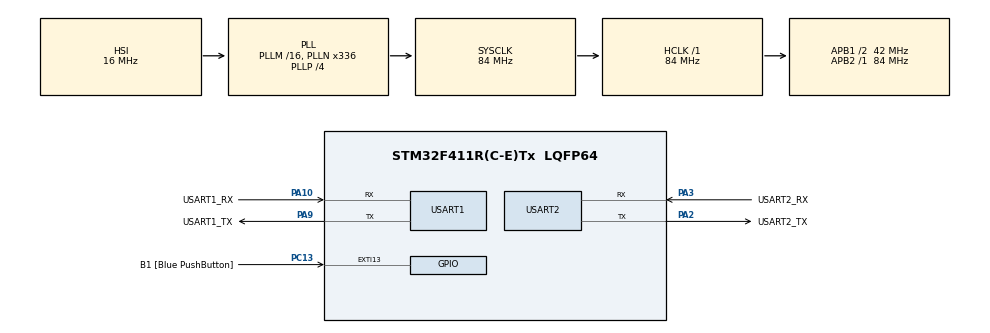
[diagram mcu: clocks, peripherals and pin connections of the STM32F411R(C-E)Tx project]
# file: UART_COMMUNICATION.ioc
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Mcu.Family=STM32F4
Mcu.Name=STM32F411R(C-E)Tx
Mcu.Package=LQFP64
NVIC.PriorityGroup=NVIC_PRIORITYGROUP_0
NVIC.USART1_IRQn=true\:0\:0\:false\:false\:true\:true\:true\:true
NVIC.USART2_IRQn=true\:0\:0\:false\:false\:true\:true\:true\:true
PA10.GPIO_Label=USART1_RX
PA10.Mode=Asynchronous
PA10.Signal=USART1_RX
PA14.GPIO_Label=TCK
PA14.Signal=SYS_JTCK-SWCLK
PA2.GPIO_Label=USART2_TX
PA2.Mode=Asynchronous
PA2.Signal=USART2_TX
PA3.GPIO_Label=USART2_RX
PA3.Mode=Asynchronous
PA3.Signal=USART2_RX
PA9.GPIO_Label=USART1_TX
PA9.Mode=Asynchronous
PA9.Signal=USART1_TX
PB3.GPIO_Label=SWO
PB3.Signal=SYS_JTDO-SWO
PC13-ANTI_TAMP.GPIO_Label=B1 [Blue PushButton]
PC13-ANTI_TAMP.GPIO_ModeDefaultEXTI=GPIO_MODE_IT_FALLING
PC13-ANTI_TAMP.Signal=GPXTI13
PC14-OSC32_IN.Mode=LSE-External-Oscillator
PC14-OSC32_IN.Signal=RCC_OSC32_IN
PC15-OSC32_OUT.Mode=LSE-External-Oscillator
PC15-OSC32_OUT.Signal=RCC_OSC32_OUT
PH0\ -\ OSC_IN.Mode=HSE-External-Clock-Source
PH0\ -\ OSC_IN.Signal=RCC_OSC_IN
PH1\ -\ OSC_OUT.Mode=HSE-External-Clock-Source
PH1\ -\ OSC_OUT.Signal=RCC_OSC_OUT
ProjectManager.HeapSize=0x200
ProjectManager.StackSize=0x400
ProjectManager.TargetToolchain=STM32CubeIDE
RCC.48MHZClocksFreq_Value=84000000
RCC.AHBFreq_Value=84000000
RCC.APB1CLKDivider=RCC_HCLK_DIV2
RCC.APB1Freq_Value=42000000
RCC.APB1TimFreq_Value=84000000
RCC.APB2Freq_Value=84000000
RCC.APB2TimFreq_Value=84000000
RCC.CortexFreq_Value=84000000
RCC.FLatency-AdvancedSettings=FLASH_LATENCY_2
RCC.HCLKFreq_Value=84000000
RCC.HSE_VALUE=8000000
RCC.HSI_VALUE=16000000
RCC.PLLN=336
RCC.PLLP=RCC_PLLP_DIV4
RCC.SYSCLKFreq_VALUE=84000000
RCC.SYSCLKSource=RCC_SYSCLKSOURCE_PLLCLK
RCC.VCOOutputFreq_Value=336000000
USART1.VirtualMode=VM_ASYNC
USART2.VirtualMode=VM_ASYNC
board=NUCLEO-F411RE

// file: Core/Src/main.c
/* USER CODE BEGIN Header */
/**
  ******************************************************************************
  * @file           : main.c
  * @brief          : Main program body
  ******************************************************************************
  * @attention
  *
  * Copyright (c) 2026 STMicroelectronics.
  * All rights reserved.
  *
  * This software is licensed under terms that can be found in the LICENSE file
  * in the root directory of this software component.
  * If no LICENSE file comes with this software, it is provided AS-IS.
  *
  ******************************************************************************
  */
/* USER CODE END Header */
#include "main.h"

/* USER CODE BEGIN Includes */
#include <stdio.h>
/* USER CODE END Includes */

UART_HandleTypeDef huart1;
UART_HandleTypeDef huart2;

void SystemClock_Config(void);
static void MX_GPIO_Init(void);
static void MX_USART1_UART_Init(void);
static void MX_USART2_UART_Init(void);
/* USER CODE BEGIN PFP */
#ifdef __GNUC__
  #define PUTCHAR_PROTOTYPE int __io_putchar(int ch)
#else
  #define PUTCHAR_PROTOTYPE int fputc(int ch, FILE *f)
#endif

PUTCHAR_PROTOTYPE
{
  HAL_UART_Transmit(&huart2, (uint8_t *)&ch, 1, HAL_MAX_DELAY);
  HAL_UART_Transmit(&huart1, (uint8_t *)&ch, 1, HAL_MAX_DELAY);
  return ch;
}
/* USER CODE END PFP */

/* USER CODE BEGIN 0 */
uint8_t rxDataFromBoard;
uint8_t rxDataFromPC;

#define BUFFER_SIZE 100
char txBuffer[BUFFER_SIZE];
uint8_t bufferIndex = 0;

char myID[BUFFER_SIZE];        // 내 ID만 저장
uint8_t myIDIndex = 0;

uint8_t idInputMode = 0;       // ID 입력 모드
uint8_t idRegistered = 0;      // ID 등록 완료 여부
/* USER CODE END 0 */

int main(void)
{

  /* MCU Configuration--------------------------------------------------------*/

  /* Reset of all peripherals, Initializes the Flash interface and the Systick. */
  HAL_Init();

  /* Configure the system clock */
  SystemClock_Config();

  /* Initialize all configured peripherals */
  MX_GPIO_Init();
  MX_USART1_UART_Init();
  MX_USART2_UART_Init();
  /* USER CODE BEGIN 2 */
  HAL_UART_Receive_IT(&huart2, &rxDataFromPC, 1);
  HAL_UART_Receive_IT(&huart1, &rxDataFromBoard, 1);
  printf("Please enter your ID and press Enter: \r\n");

  idInputMode = 1;  // 시작하자마자 ID 입력 모드
  /* USER CODE END 2 */

  /* Infinite loop */
  while (1)
  {

  }
}

void SystemClock_Config(void)
{
  RCC_OscInitTypeDef RCC_OscInitStruct = {0};
  RCC_ClkInitTypeDef RCC_ClkInitStruct = {0};

  /** Configure the main internal regulator output voltage
  */
  __HAL_RCC_PWR_CLK_ENABLE();
  __HAL_PWR_VOLTAGESCALING_CONFIG(PWR_REGULATOR_VOLTAGE_SCALE1);

  /** Initializes the RCC Oscillators according to the specified parameters
  * in the RCC_OscInitTypeDef structure.
  */
  RCC_OscInitStruct.OscillatorType = RCC_OSCILLATORTYPE_HSI;
  RCC_OscInitStruct.HSIState = RCC_HSI_ON;
  RCC_OscInitStruct.HSICalibrationValue = RCC_HSICALIBRATION_DEFAULT;
  RCC_OscInitStruct.PLL.PLLState = RCC_PLL_ON;
  RCC_OscInitStruct.PLL.PLLSource = RCC_PLLSOURCE_HSI;
  RCC_OscInitStruct.PLL.PLLM = 16;
  RCC_OscInitStruct.PLL.PLLN = 336;
  RCC_OscInitStruct.PLL.PLLP = RCC_PLLP_DIV4;
  RCC_OscInitStruct.PLL.PLLQ = 4;
  if (HAL_RCC_OscConfig(&RCC_OscInitStruct) != HAL_OK)
  {
    Error_Handler();
  }

  /** Initializes the CPU, AHB and APB buses clocks
  */
  RCC_ClkInitStruct.ClockType = RCC_CLOCKTYPE_HCLK|RCC_CLOCKTYPE_SYSCLK
                              |RCC_CLOCKTYPE_PCLK1|RCC_CLOCKTYPE_PCLK2;
  RCC_ClkInitStruct.SYSCLKSource = RCC_SYSCLKSOURCE_PLLCLK;
  RCC_ClkInitStruct.AHBCLKDivider = RCC_SYSCLK_DIV1;
  RCC_ClkInitStruct.APB1CLKDivider = RCC_HCLK_DIV2;
  RCC_ClkInitStruct.APB2CLKDivider = RCC_HCLK_DIV1;

  if (HAL_RCC_ClockConfig(&RCC_ClkInitStruct, FLASH_LATENCY_2) != HAL_OK)
  {
    Error_Handler();
  }
}

static void MX_USART1_UART_Init(void)
{

  huart1.Instance = USART1;
  huart1.Init.BaudRate = 115200;
  huart1.Init.WordLength = UART_WORDLENGTH_8B;
  huart1.Init.StopBits = UART_STOPBITS_1;
  huart1.Init.Parity = UART_PARITY_NONE;
  huart1.Init.Mode = UART_MODE_TX_RX;
  huart1.Init.HwFlowCtl = UART_HWCONTROL_NONE;
  huart1.Init.OverSampling = UART_OVERSAMPLING_16;
  if (HAL_UART_Init(&huart1) != HAL_OK)
  {
    Error_Handler();
  }

}

static void MX_USART2_UART_Init(void)
{

  huart2.Instance = USART2;
  huart2.Init.BaudRate = 115200;
  huart2.Init.WordLength = UART_WORDLENGTH_8B;
  huart2.Init.StopBits = UART_STOPBITS_1;
  huart2.Init.Parity = UART_PARITY_NONE;
  huart2.Init.Mode = UART_MODE_TX_RX;
  huart2.Init.HwFlowCtl = UART_HWCONTROL_NONE;
  huart2.Init.OverSampling = UART_OVERSAMPLING_16;
  if (HAL_UART_Init(&huart2) != HAL_OK)
  {
    Error_Handler();
  }

}

static void MX_GPIO_Init(void)
{
  GPIO_InitTypeDef GPIO_InitStruct = {0};

  /* GPIO Ports Clock Enable */
  __HAL_RCC_GPIOC_CLK_ENABLE();
  __HAL_RCC_GPIOH_CLK_ENABLE();
  __HAL_RCC_GPIOA_CLK_ENABLE();
  __HAL_RCC_GPIOB_CLK_ENABLE();

  /*Configure GPIO pin : B1_Pin */
  GPIO_InitStruct.Pin = B1_Pin;
  GPIO_InitStruct.Mode = GPIO_MODE_IT_FALLING;
  GPIO_InitStruct.Pull = GPIO_NOPULL;
  HAL_GPIO_Init(B1_GPIO_Port, &GPIO_InitStruct);

}

/* USER CODE BEGIN 4 */

void HAL_UART_RxCpltCallback(UART_HandleTypeDef *huart)
{
    if (huart->Instance == USART2)
    {
        // ID 입력 모드
        if(idInputMode == 1)
        {
            if(rxDataFromPC == '\r' || rxDataFromPC == '\n') // 엔터로 ID 입력 완료
            {
                if(myIDIndex > 0)
                {
                    myID[myIDIndex] = '\0';  // 문자열 종료
                    HAL_UART_Transmit(&huart2, (uint8_t*)"\r\nID registered: ", 17, 100);
                    HAL_UART_Transmit(&huart2, (uint8_t*)myID, myIDIndex, 100);
                    HAL_UART_Transmit(&huart2, (uint8_t*)"\r\n\r\n", 4, 100);

                    idInputMode = 0;
                    idRegistered = 1;

                    // 첫 프롬프트 출력
                    HAL_UART_Transmit(&huart2, (uint8_t*)"[", 1, 100);
                    HAL_UART_Transmit(&huart2, (uint8_t*)myID, myIDIndex, 100);
                    HAL_UART_Transmit(&huart2, (uint8_t*)"] : ", 4, 100);
                }
            }
            else // ID 문자 입력 중
            {
                HAL_UART_Transmit(&huart2, &rxDataFromPC, 1, 100); // 에코
                if(myIDIndex < BUFFER_SIZE - 1)
                {
                    myID[myIDIndex++] = rxDataFromPC;
                }
            }
        }
        // 일반 채팅 모드
        else if(idRegistered == 1)
        {
            if(rxDataFromPC == '\r' || rxDataFromPC == '\n') // 엔터 입력 시
            {
                if(bufferIndex > 0)
                {
                    // 상대방에게 [내ID] : 메시지 형태로 전송
                    HAL_UART_Transmit(&huart1, (uint8_t*)"\r\n[", 3, 100);
                    HAL_UART_Transmit(&huart1, (uint8_t*)myID, myIDIndex, 100);
                    HAL_UART_Transmit(&huart1, (uint8_t*)"] : ", 4, 100);
                    HAL_UART_Transmit(&huart1, (uint8_t*)txBuffer, bufferIndex, 100);
                    HAL_UART_Transmit(&huart1, (uint8_t*)"\r\n[", 3, 100);

                    bufferIndex = 0;
                }

                // 다음 입력을 위한 프롬프트
                HAL_UART_Transmit(&huart2, (uint8_t*)"\r\n[", 3, 100);
                HAL_UART_Transmit(&huart2, (uint8_t*)myID, myIDIndex, 100);
                HAL_UART_Transmit(&huart2, (uint8_t*)"] : ", 4, 100);
            }
            else // 일반 문자 입력
            {
                HAL_UART_Transmit(&huart2, &rxDataFromPC, 1, 100); // 에코
                if(bufferIndex < BUFFER_SIZE - 1)
                {
                    txBuffer[bufferIndex++] = rxDataFromPC;
                }
            }
        }

        HAL_UART_Receive_IT(&huart2, &rxDataFromPC, 1);
    }
    else if (huart->Instance == USART1)
    {
        // 상대방으로부터 데이터 수신 → 그대로 내 화면에 출력
        HAL_UART_Transmit(&huart2, &rxDataFromBoard, 1, 100);
        HAL_UART_Receive_IT(&huart1, &rxDataFromBoard, 1);
    }
}

void HAL_UART_TxCpltCallback(UART_HandleTypeDef *huart)
{
    // 전송 완료 콜백
}
/* USER CODE END 4 */

void Error_Handler(void)
{
  __disable_irq();
  while (1)
  {
  }
}
